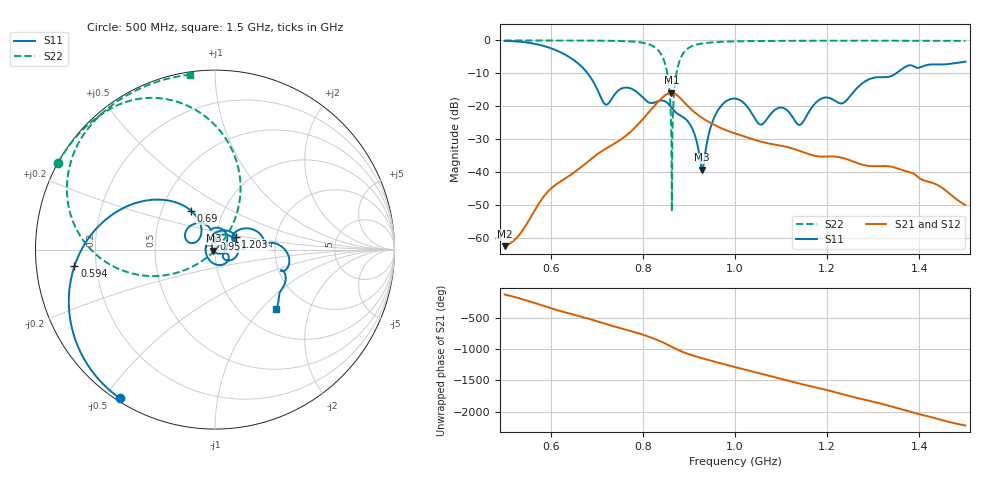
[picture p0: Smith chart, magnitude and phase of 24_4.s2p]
! TOUCHSTONE file generated by CST MICROWAVE STUDIO
! Date and time: Fri Oct  2 16:57:54 2020
! Project name: Scenario_1_Free_Space_out_of_line.cst
! Parameters = {Lambda=346.42; Step_1=17.321; dy1=-51.203; dx1=693; L_HA=400; MT=2.54; Rad_Dielectric=30; Rad_Lower=7.3; Rad_Upper=30; a_HA=580; a_WG=246; b_HA=500; b_WG=121; c_HA=0; c_WG=187; d_feed=85; h_feed=15; h_lower=18; h_upper=40}
! Header version: 2018
! Port assignment regex: !\s*Touchstone port\s*([0-9]+)\s*=\s*(CST MWS port|CST DS port)\s*([0-9]+|Zmin|Zmax)\s*\(\"(.*)\"\)(\s*mode\s*([0-9]+))?.*
! Touchstone port assignment:
! Touchstone port 1 = CST MWS port 1 ("")
! Touchstone port 2 = CST MWS port 2 ("")
# GHz S DB R 50
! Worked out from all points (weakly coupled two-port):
!   1003 points, 500 MHz to 1.5 GHz, reference 50 ohm
!   highest |S21| = -15.88 dB at 862 MHz (marker M1); lowest = -62.4 dB at 500 MHz (marker M2)
!   lowest |S11| = -39.2 dB at 929 MHz (marker M3), VSWR 1.02, Z = 49.1 - j0.636 ohm
!   |S11| at or under -10 dB: 680.4 MHz to 1.349 GHz (669 MHz wide, 65.9 % of centre)
!   |S22| runs from -51.9 to 0.0 dB; largest |S21 - S12| = 7.3e-06
!   S11 on the Smith chart (normalised r, x): 500 MHz: 0.01, -0.55; 594 MHz: 0.12, -0.06; 690 MHz: 0.70, +0.32; 951 MHz: 0.98, +0.11; 1.203 GHz: 1.25, +0.18; 1.5 GHz: 1.42, -1.22
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0.5  -0.15 -122.5  -62.39 -116.3  -62.39 -116.3  -0.01 151.2
0.594  -2.06 -173.2  -45.82 38.6  -45.82 38.6  -0.02 144.6
0.667  -7.92 136.3  -38.29 -113.1  -38.29 -113.1  -0.04 138.4
0.69  -11.95 121.5  -35.67 -162.3  -35.67 -162.3  -0.06 136.0
0.719  -19.43 142.2  -32.88 131.6  -32.88 131.6  -0.10 132.6
0.762  -14.30 144.7  -29.05 40.2  -29.05 40.2  -0.22 125.3
0.834  -18.35 91.5  -18.47 -135.8  -18.47 -135.8  -3.09 90.5
0.852  -18.81 61.1  -16.28 163.0  -16.28 163.0  -9.26 65.7
0.862  -20.31 44.6  -15.88 125.2  -15.88 125.2  -29.73 43.3
0.873  -22.02 32.6  -16.49 84.0  -16.49 84.0  -9.92 -153.2
0.882  -22.81 22.6  -17.61 53.6  -17.61 53.6  -5.38 -168.0
0.908  -26.95 -26.3  -21.28 -16.0  -21.28 -16.0  -1.64 166.4
0.929  -39.18 -143.9  -23.52 -62.3  -23.52 -62.3  -0.91 156.3
0.951  -24.73 95.1  -25.32 -107.9  -25.32 -107.9  -0.58 149.8
1  -17.64 -0.2  -28.19 156.3  -28.19 156.3  -0.28 140.8
1.056  -25.52 -30.8  -30.68 49.7  -30.68 49.7  -0.17 134.2
1.1  -20.34 -50.6  -31.93 -32.9  -31.93 -32.9  -0.13 130.0
1.141  -25.60 175.9  -33.54 -112.4  -33.54 -112.4  -0.11 126.5
1.167  -20.26 85.2  -34.77 -158.4  -34.77 -158.4  -0.10 124.4
1.203  -17.37 31.3  -35.17 139.8  -35.18 139.8  -0.09 121.6
1.334  -11.02 6.6  -38.18 -107.5  -38.18 -107.5  -0.09 111.7
1.5  -6.44 -44.4  -49.91 -63.8  -49.91 -63.8  -0.14 98.2
